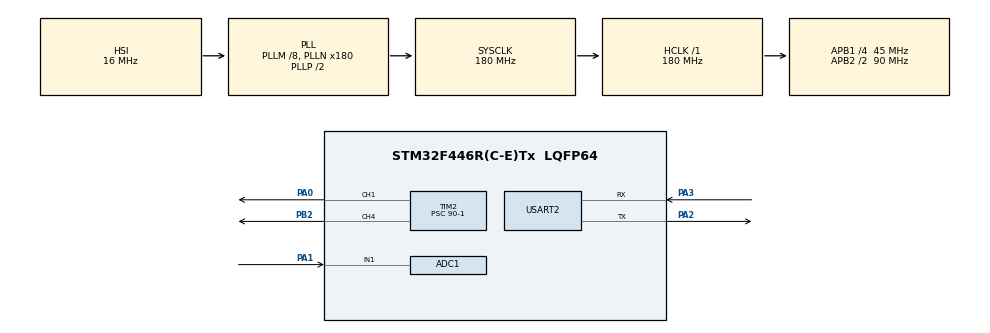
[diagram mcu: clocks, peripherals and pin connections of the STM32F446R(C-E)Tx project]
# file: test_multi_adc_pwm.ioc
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ADC1.Channel-1\#ChannelRegularConversion=ADC_CHANNEL_1
ADC1.ContinuousConvMode=ENABLE
ADC1.DMAContinuousRequests=ENABLE
ADC1.NbrOfConversion=1
ADC1.NbrOfConversionFlag=1
ADC1.Rank-1\#ChannelRegularConversion=1
ADC1.SamplingTime-1\#ChannelRegularConversion=ADC_SAMPLETIME_84CYCLES
ADC1.master=1
Dma.ADC1.1.Direction=DMA_PERIPH_TO_MEMORY
Dma.ADC1.1.FIFOMode=DMA_FIFOMODE_DISABLE
Dma.ADC1.1.Instance=DMA2_Stream0
Dma.ADC1.1.MemDataAlignment=DMA_MDATAALIGN_HALFWORD
Dma.ADC1.1.MemInc=DMA_MINC_ENABLE
Dma.ADC1.1.Mode=DMA_CIRCULAR
Dma.ADC1.1.PeriphDataAlignment=DMA_PDATAALIGN_HALFWORD
Dma.ADC1.1.PeriphInc=DMA_PINC_DISABLE
Dma.ADC1.1.Priority=DMA_PRIORITY_LOW
Dma.Request0=USART2_TX
Dma.Request1=ADC1
Dma.Request2=USART2_RX
Dma.USART2_RX.2.Direction=DMA_PERIPH_TO_MEMORY
Dma.USART2_RX.2.FIFOMode=DMA_FIFOMODE_DISABLE
Dma.USART2_RX.2.Instance=DMA1_Stream5
Dma.USART2_RX.2.MemDataAlignment=DMA_MDATAALIGN_BYTE
Dma.USART2_RX.2.MemInc=DMA_MINC_ENABLE
Dma.USART2_RX.2.Mode=DMA_CIRCULAR
Dma.USART2_RX.2.PeriphDataAlignment=DMA_PDATAALIGN_BYTE
Dma.USART2_RX.2.PeriphInc=DMA_PINC_DISABLE
Dma.USART2_RX.2.Priority=DMA_PRIORITY_LOW
Dma.USART2_TX.0.Direction=DMA_MEMORY_TO_PERIPH
Dma.USART2_TX.0.FIFOMode=DMA_FIFOMODE_DISABLE
Dma.USART2_TX.0.Instance=DMA1_Stream6
Dma.USART2_TX.0.MemDataAlignment=DMA_MDATAALIGN_BYTE
Dma.USART2_TX.0.MemInc=DMA_MINC_ENABLE
Dma.USART2_TX.0.Mode=DMA_NORMAL
Dma.USART2_TX.0.PeriphDataAlignment=DMA_PDATAALIGN_BYTE
Dma.USART2_TX.0.PeriphInc=DMA_PINC_DISABLE
Dma.USART2_TX.0.Priority=DMA_PRIORITY_LOW
Mcu.Family=STM32F4
Mcu.Name=STM32F446R(C-E)Tx
Mcu.Package=LQFP64
NVIC.DMA1_Stream5_IRQn=true\:0\:0\:false\:false\:true\:false\:true\:true
NVIC.DMA1_Stream6_IRQn=true\:0\:0\:false\:false\:true\:false\:true\:true
NVIC.DMA2_Stream0_IRQn=true\:0\:0\:false\:false\:true\:false\:true\:true
NVIC.PriorityGroup=NVIC_PRIORITYGROUP_4
NVIC.USART2_IRQn=true\:0\:0\:false\:false\:true\:true\:true\:true
PA0-WKUP.Signal=S_TIM2_CH1_ETR
PA1.Signal=ADCx_IN1
PA2.Mode=Asynchronous
PA2.Signal=USART2_TX
PA3.Mode=Asynchronous
PA3.Signal=USART2_RX
PB2.Signal=S_TIM2_CH4
PC14-OSC32_IN.Mode=LSE-External-Oscillator
PC14-OSC32_IN.Signal=RCC_OSC32_IN
PC15-OSC32_OUT.Mode=LSE-External-Oscillator
PC15-OSC32_OUT.Signal=RCC_OSC32_OUT
PH0-OSC_IN.Mode=HSE-External-Oscillator
PH0-OSC_IN.Signal=RCC_OSC_IN
PH1-OSC_OUT.Mode=HSE-External-Oscillator
PH1-OSC_OUT.Signal=RCC_OSC_OUT
ProjectManager.HeapSize=0x200
ProjectManager.StackSize=0x400
ProjectManager.TargetToolchain=Makefile
RCC.AHBFreq_Value=180000000
RCC.APB1CLKDivider=RCC_HCLK_DIV4
RCC.APB1Freq_Value=45000000
RCC.APB1TimFreq_Value=90000000
RCC.APB2CLKDivider=RCC_HCLK_DIV2
RCC.APB2Freq_Value=90000000
RCC.APB2TimFreq_Value=180000000
RCC.CortexFreq_Value=180000000
RCC.HCLKFreq_Value=180000000
RCC.PLLM=8
RCC.PLLN=180
RCC.SYSCLKFreq_VALUE=180000000
RCC.SYSCLKSource=RCC_SYSCLKSOURCE_PLLCLK
RCC.USBFreq_Value=180000000
RCC.VCOOutputFreq_Value=360000000
SH.ADCx_IN1.0=ADC1_IN1,IN1
SH.S_TIM2_CH1_ETR.0=TIM2_CH1,PWM Generation1 CH1
SH.S_TIM2_CH4.0=TIM2_CH4,PWM Generation4 CH4
TIM2.Channel-PWM\ Generation1\ CH1=TIM_CHANNEL_1
TIM2.Channel-PWM\ Generation4\ CH4=TIM_CHANNEL_4
TIM2.Period=19999
TIM2.Prescaler=90-1
TIM2.Pulse-PWM\ Generation1\ CH1=1500
TIM2.Pulse-PWM\ Generation4\ CH4=1500
USART2.VirtualMode=VM_ASYNC
VP_TIM2_VS_ClockSourceINT.Mode=Internal
board=custom

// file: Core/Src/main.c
/* USER CODE BEGIN Header */
/**
 ******************************************************************************
 * @file           : main.c
 * @brief          : Main program body
 ******************************************************************************
 * @attention
 *
 * Copyright (c) 2026 STMicroelectronics.
 * All rights reserved.
 *
 * This software is licensed under terms that can be found in the LICENSE file
 * in the root directory of this software component.
 * If no LICENSE file comes with this software, it is provided AS-IS.
 *
 ******************************************************************************
 */
/* USER CODE END Header */
#include "main.h"
#include "adc.h"
#include "dma.h"
#include "tim.h"
#include "usart.h"
#include "gpio.h"

/* USER CODE BEGIN Includes */
#include <stdio.h>  // For sprintf
#include <string.h> // For strlen
#include <stdarg.h> // For va_list, va_start, va_end
#include <math.h>
#include "STM32F4xx_Debug.h"
#include "STM32F4xx_servo.h"
#include "STM32F4xx_Brushless.h"
/* USER CODE END Includes */

void SystemClock_Config(void);

int main(void)
{

  /* MCU Configuration--------------------------------------------------------*/

  /* Reset of all peripherals, Initializes the Flash interface and the Systick. */
  HAL_Init();

  /* Configure the system clock */
  SystemClock_Config();

  /* Initialize all configured peripherals */
  MX_GPIO_Init();
  MX_DMA_Init();
  MX_ADC1_Init();
  MX_USART2_UART_Init();
  MX_TIM2_Init();
  /* USER CODE BEGIN 2 */
  Servo_Init();
  Brushless_Init();
  debug_uart_rx_init();
  debug_uart_set_echo(1);
  float received = 0.0f;
  /* USER CODE END 2 */

  /* Infinite loop */
  while (1)
  {
    if (debug_uart_available())
    {
      int status = debug_uart_getfloat(&received);
      if (status == 1)
      {
        printf_uart("Received: %.4f\r\n", received);
      }
      else if (status < 0)
      {
        printf_uart("Parse error\r\n");
      }
    }
    setBrushlessSpeed(received);
    /* USER CODE END WHILE */
  }
}

void SystemClock_Config(void)
{
  RCC_OscInitTypeDef RCC_OscInitStruct = {0};
  RCC_ClkInitTypeDef RCC_ClkInitStruct = {0};

  /** Configure the main internal regulator output voltage
  */
  __HAL_RCC_PWR_CLK_ENABLE();
  __HAL_PWR_VOLTAGESCALING_CONFIG(PWR_REGULATOR_VOLTAGE_SCALE1);

  /** Initializes the RCC Oscillators according to the specified parameters
  * in the RCC_OscInitTypeDef structure.
  */
  RCC_OscInitStruct.OscillatorType = RCC_OSCILLATORTYPE_HSI;
  RCC_OscInitStruct.HSIState = RCC_HSI_ON;
  RCC_OscInitStruct.HSICalibrationValue = RCC_HSICALIBRATION_DEFAULT;
  RCC_OscInitStruct.PLL.PLLState = RCC_PLL_ON;
  RCC_OscInitStruct.PLL.PLLSource = RCC_PLLSOURCE_HSI;
  RCC_OscInitStruct.PLL.PLLM = 8;
  RCC_OscInitStruct.PLL.PLLN = 180;
  RCC_OscInitStruct.PLL.PLLP = RCC_PLLP_DIV2;
  RCC_OscInitStruct.PLL.PLLQ = 2;
  RCC_OscInitStruct.PLL.PLLR = 2;
  if (HAL_RCC_OscConfig(&RCC_OscInitStruct) != HAL_OK)
  {
    Error_Handler();
  }

  /** Activate the Over-Drive mode
  */
  if (HAL_PWREx_EnableOverDrive() != HAL_OK)
  {
    Error_Handler();
  }

  /** Initializes the CPU, AHB and APB buses clocks
  */
  RCC_ClkInitStruct.ClockType = RCC_CLOCKTYPE_HCLK|RCC_CLOCKTYPE_SYSCLK
                              |RCC_CLOCKTYPE_PCLK1|RCC_CLOCKTYPE_PCLK2;
  RCC_ClkInitStruct.SYSCLKSource = RCC_SYSCLKSOURCE_PLLCLK;
  RCC_ClkInitStruct.AHBCLKDivider = RCC_SYSCLK_DIV1;
  RCC_ClkInitStruct.APB1CLKDivider = RCC_HCLK_DIV4;
  RCC_ClkInitStruct.APB2CLKDivider = RCC_HCLK_DIV2;

  if (HAL_RCC_ClockConfig(&RCC_ClkInitStruct, FLASH_LATENCY_5) != HAL_OK)
  {
    Error_Handler();
  }
}

/* USER CODE BEGIN 4 */
float constrainAngle2(float x)
{
  x = fmod(x + 180.0f, 360.0f);
  if (x < 0)
    x += 360.0f;
  return x - 180.0f;
}
/* USER CODE END 4 */

void Error_Handler(void)
{
  __disable_irq();
  while (1)
  {
  }
}
